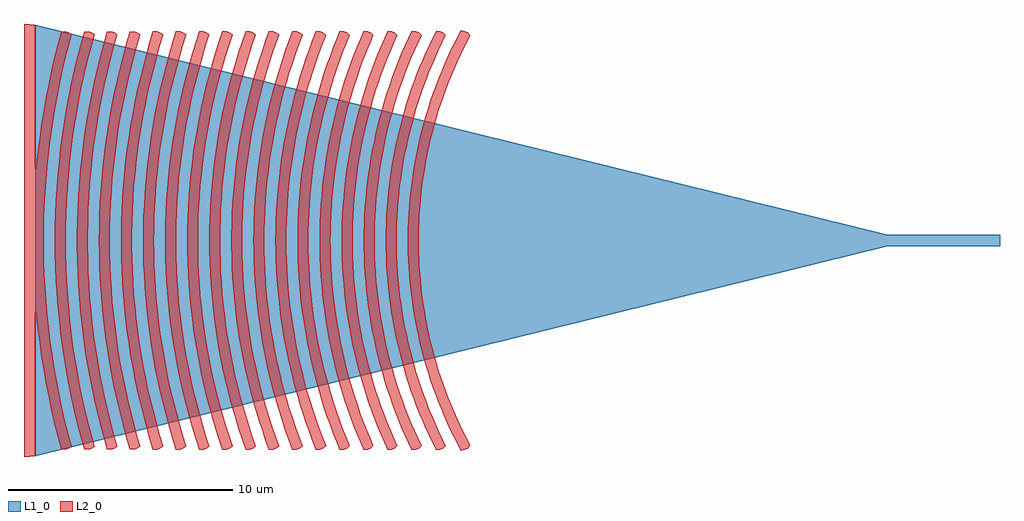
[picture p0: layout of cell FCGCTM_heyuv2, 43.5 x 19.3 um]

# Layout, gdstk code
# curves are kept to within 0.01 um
import gdstk
lib = gdstk.Library(unit=1e-6, precision=1e-09)
def R(c, l, rs):  # rectangles x0, y0, x1, y1
    for r in rs: c.add(gdstk.rectangle(r[:2], r[2:], *l))
def P(c, l, *ps):  # polygons
    for p in ps: c.add(gdstk.Polygon(p, *l))
L1_0 = (1, 0)
L2_0 = (2, 0)

fcgctm_heyuv2 = lib.new_cell('FCGCTM_heyuv2')
R(fcgctm_heyuv2, L1_0, [(-5,-0.25,0,0.25)])
P(fcgctm_heyuv2, L1_0, [(-43,-9.625),(-43,9.625),(-5,0.25),(-5,-0.25)])
P(fcgctm_heyuv2, L2_0, [(-43.5,-9.65),(-43.5,9.65),(-43,9.625),(-43,-9.625)],
  [(-24.032,-9.361),(-24.344,-8.756),(-24.637,-8.137),(-25.036,-7.191),(-25.274,-6.548),(-25.49,-5.899),(-25.771,-4.911),(-26.001,-3.91),(-26.125,-3.236),(-26.226,-2.56),(-26.303,-1.88),(-26.356,-1.197),(-26.392,-0.171),(-26.374,0.855),(-26.332,1.539),(-26.267,2.219),(-26.178,2.898),(-26.066,3.574),(-25.854,4.578),(-25.59,5.571),(-25.385,6.224),(-25.158,6.871),(-24.908,7.508),(-24.637,8.137),(-24.344,8.756),(-24.032,9.361),(-23.845,9.334),(-23.732,9.274),(-23.604,9.134),(-24.056,8.241),(-24.331,7.632),(-24.584,7.016),(-24.817,6.389),(-25.029,5.753),(-25.303,4.79),(-25.527,3.814),(-25.649,3.153),(-25.746,2.497),(-25.85,1.5),(-25.89,0.834),(-25.908,0.167),(-25.902,-0.501),(-25.873,-1.168),(-25.821,-1.834),(-25.746,-2.497),(-25.649,-3.153),(-25.527,-3.814),(-25.303,-4.79),(-25.029,-5.753),(-24.817,-6.389),(-24.584,-7.016),(-24.331,-7.632),(-24.056,-8.241),(-23.604,-9.134),(-23.732,-9.274),(-23.845,-9.334)],
  [(-25.132,-9.356),(-25.594,-8.385),(-25.875,-7.723),(-26.133,-7.05),(-26.475,-6.027),(-26.673,-5.335),(-26.848,-4.636),(-27.063,-3.579),(-27.175,-2.869),(-27.263,-2.155),(-27.348,-1.079),(-27.376,0),(-27.348,1.079),(-27.263,2.154),(-27.175,2.868),(-27.063,3.579),(-26.848,4.636),(-26.673,5.335),(-26.475,6.027),(-26.133,7.05),(-25.875,7.722),(-25.594,8.385),(-25.132,9.356),(-24.944,9.333),(-24.829,9.276),(-24.699,9.139),(-25.153,8.186),(-25.554,7.216),(-25.796,6.553),(-26.012,5.886),(-26.294,4.87),(-26.522,3.842),(-26.645,3.144),(-26.742,2.452),(-26.843,1.405),(-26.879,0.702),(-26.892,0),(-26.879,-0.702),(-26.843,-1.405),(-26.742,-2.453),(-26.645,-3.144),(-26.522,-3.842),(-26.294,-4.87),(-26.012,-5.887),(-25.796,-6.553),(-25.554,-7.216),(-25.153,-8.186),(-24.699,-9.139),(-24.829,-9.276),(-24.944,-9.333)],
  [(-26.221,-9.351),(-26.53,-8.679),(-26.819,-7.993),(-27.207,-6.945),(-27.54,-5.879),(-27.817,-4.797),(-28.038,-3.703),(-28.153,-2.968),(-28.243,-2.229),(-28.33,-1.116),(-28.359,0),(-28.33,1.116),(-28.243,2.228),(-28.153,2.967),(-28.038,3.703),(-27.817,4.797),(-27.54,5.879),(-27.207,6.945),(-26.819,7.992),(-26.53,8.679),(-26.221,9.351),(-26.032,9.333),(-25.916,9.278),(-25.783,9.144),(-26.09,8.479),(-26.37,7.812),(-26.749,6.788),(-27.074,5.747),(-27.345,4.69),(-27.495,3.979),(-27.622,3.256),(-27.762,2.179),(-27.847,1.091),(-27.875,0),(-27.847,-1.091),(-27.762,-2.179),(-27.622,-3.256),(-27.495,-3.979),(-27.345,-4.69),(-27.074,-5.747),(-26.749,-6.788),(-26.37,-7.813),(-26.09,-8.479),(-25.783,-9.144),(-25.916,-9.278),(-26.032,-9.333)],
  [(-27.298,-9.347),(-27.752,-8.287),(-28.153,-7.201),(-28.497,-6.095),(-28.783,-4.973),(-29.011,-3.838),(-29.18,-2.694),(-29.289,-1.542),(-29.329,-0.771),(-29.342,0),(-29.312,1.157),(-29.223,2.311),(-29.074,3.458),(-28.941,4.218),(-28.783,4.973),(-28.497,6.095),(-28.153,7.201),(-27.752,8.286),(-27.298,9.347),(-27.11,9.332),(-26.993,9.28),(-26.857,9.148),(-27.303,8.107),(-27.695,7.044),(-27.924,6.327),(-28.131,5.6),(-28.392,4.498),(-28.595,3.384),(-28.741,2.26),(-28.829,1.132),(-28.858,0),(-28.829,-1.132),(-28.741,-2.26),(-28.595,-3.384),(-28.392,-4.498),(-28.131,-5.6),(-27.924,-6.327),(-27.695,-7.044),(-27.303,-8.108),(-26.857,-9.148),(-26.993,-9.28),(-27.11,-9.332)],
  [(-28.368,-9.343),(-28.821,-8.234),(-29.217,-7.098),(-29.554,-5.944),(-29.831,-4.774),(-30.047,-3.591),(-30.202,-2.4),(-30.295,-1.202),(-30.326,0),(-30.295,1.202),(-30.202,2.4),(-30.047,3.591),(-29.831,4.774),(-29.554,5.944),(-29.217,7.098),(-28.821,8.234),(-28.368,9.343),(-28.18,9.331),(-28.062,9.28),(-27.924,9.152),(-28.37,8.057),(-28.755,6.952),(-29.086,5.821),(-29.357,4.676),(-29.57,3.512),(-29.72,2.349),(-29.811,1.176),(-29.842,0),(-29.811,-1.176),(-29.72,-2.349),(-29.57,-3.512),(-29.357,-4.676),(-29.086,-5.821),(-28.755,-6.952),(-28.37,-8.057),(-27.924,-9.152),(-28.062,-9.281),(-28.18,-9.331)],
  [(-29.431,-9.339),(-29.883,-8.177),(-30.276,-6.989),(-30.607,-5.782),(-30.875,-4.56),(-31.079,-3.326),(-31.219,-2.083),(-31.276,-1.251),(-31.309,0),(-31.276,1.251),(-31.219,2.083),(-31.079,3.325),(-30.875,4.56),(-30.607,5.782),(-30.276,6.989),(-29.883,8.177),(-29.431,9.339),(-29.243,9.331),(-29.123,9.283),(-28.984,9.156),(-29.427,8.015),(-29.812,6.851),(-30.036,6.063),(-30.319,4.87),(-30.541,3.659),(-30.698,2.448),(-30.793,1.225),(-30.825,0),(-30.793,-1.225),(-30.698,-2.448),(-30.541,-3.659),(-30.319,-4.87),(-30.036,-6.063),(-29.812,-6.851),(-29.427,-8.015),(-28.984,-9.156),(-29.123,-9.283),(-29.243,-9.331)],
  [(-30.487,-9.336),(-30.796,-8.527),(-31.208,-7.289),(-31.555,-6.03),(-31.836,-4.756),(-32.051,-3.469),(-32.198,-2.172),(-32.277,-0.87),(-32.292,0),(-32.277,0.87),(-32.198,2.172),(-32.051,3.468),(-31.836,4.756),(-31.555,6.03),(-31.208,7.289),(-30.796,8.527),(-30.487,9.336),(-30.299,9.33),(-30.179,9.284),(-30.037,9.159),(-30.483,7.959),(-30.866,6.738),(-31.086,5.915),(-31.361,4.665),(-31.571,3.402),(-31.716,2.131),(-31.775,1.279),(-31.808,0),(-31.775,-1.279),(-31.716,-2.131),(-31.571,-3.403),(-31.361,-4.665),(-31.086,-5.915),(-30.866,-6.738),(-30.483,-7.959),(-30.037,-9.159),(-30.179,-9.284),(-30.299,-9.33)],
  [(-31.538,-9.333),(-31.994,-8.052),(-32.261,-7.182),(-32.604,-5.861),(-32.878,-4.524),(-33.021,-3.627),(-33.176,-2.271),(-33.24,-1.364),(-33.275,0),(-33.24,1.364),(-33.176,2.271),(-33.021,3.626),(-32.878,4.524),(-32.604,5.861),(-32.261,7.182),(-31.994,8.052),(-31.538,9.333),(-31.35,9.33),(-31.229,9.285),(-31.085,9.162),(-31.533,7.903),(-31.916,6.619),(-32.23,5.317),(-32.401,4.44),(-32.6,3.115),(-32.694,2.229),(-32.776,0.892),(-32.791,0),(-32.776,-0.892),(-32.694,-2.229),(-32.6,-3.116),(-32.401,-4.44),(-32.23,-5.317),(-31.916,-6.619),(-31.533,-7.903),(-31.085,-9.162),(-31.229,-9.285),(-31.35,-9.33)],
  [(-32.584,-9.33),(-33.033,-8.014),(-33.296,-7.121),(-33.631,-5.767),(-33.815,-4.855),(-33.968,-3.938),(-34.137,-2.554),(-34.234,-1.162),(-34.258,-0.233),(-34.234,1.162),(-34.177,2.091),(-34.089,3.015),(-33.896,4.397),(-33.631,5.767),(-33.296,7.121),(-33.033,8.014),(-32.584,9.33),(-32.395,9.329),(-32.274,9.285),(-32.129,9.165),(-32.572,7.869),(-32.83,6.989),(-33.057,6.109),(-33.34,4.769),(-33.552,3.415),(-33.655,2.507),(-33.75,1.141),(-33.774,0.228),(-33.766,-0.685),(-33.695,-2.053),(-33.552,-3.415),(-33.34,-4.769),(-33.057,-6.109),(-32.83,-6.989),(-32.572,-7.869),(-32.129,-9.165),(-32.274,-9.285),(-32.395,-9.329)],
  [(-33.436,-9.329),(-33.625,-9.327),(-33.928,-8.43),(-34.202,-7.518),(-34.445,-6.598),(-34.749,-5.203),(-34.981,-3.795),(-35.14,-2.376),(-35.226,-0.952),(-35.242,0),(-35.226,0.952),(-35.14,2.376),(-34.981,3.794),(-34.749,5.203),(-34.445,6.598),(-34.202,7.518),(-33.928,8.43),(-33.625,9.327),(-33.436,9.329),(-33.315,9.286),(-33.168,9.168),(-33.468,8.282),(-33.86,6.937),(-34.182,5.572),(-34.358,4.652),(-34.562,3.265),(-34.658,2.335),(-34.722,1.402),(-34.758,0),(-34.742,-0.935),(-34.658,-2.335),(-34.562,-3.265),(-34.358,-4.653),(-34.182,-5.572),(-33.86,-6.937),(-33.468,-8.282),(-33.168,-9.168),(-33.315,-9.286)],
  [(-34.474,-9.328),(-34.662,-9.324),(-34.819,-8.855),(-35.247,-7.416),(-35.489,-6.445),(-35.698,-5.467),(-35.946,-3.988),(-36.116,-2.498),(-36.208,-1),(-36.225,0),(-36.208,1),(-36.116,2.498),(-35.946,3.987),(-35.698,5.467),(-35.489,6.445),(-35.247,7.416),(-34.819,8.855),(-34.662,9.324),(-34.474,9.328),(-34.352,9.287),(-34.204,9.171),(-34.648,7.764),(-34.903,6.816),(-35.223,5.376),(-35.395,4.402),(-35.587,2.945),(-35.673,1.966),(-35.724,0.983),(-35.741,0),(-35.724,-0.983),(-35.673,-1.966),(-35.587,-2.945),(-35.395,-4.402),(-35.223,-5.376),(-34.903,-6.816),(-34.648,-7.764),(-34.204,-9.171),(-34.352,-9.287)],
  [(-35.507,-9.328),(-35.696,-9.322),(-36.002,-8.348),(-36.399,-6.861),(-36.718,-5.355),(-36.887,-4.343),(-37.074,-2.817),(-37.181,-1.282),(-37.207,-0.256),(-37.181,1.282),(-37.074,2.817),(-36.887,4.343),(-36.718,5.355),(-36.399,6.861),(-36.002,8.348),(-35.696,9.322),(-35.507,9.328),(-35.385,9.288),(-35.236,9.172),(-35.537,8.212),(-35.807,7.238),(-36.146,5.763),(-36.33,4.766),(-36.478,3.773),(-36.636,2.267),(-36.697,1.261),(-36.723,0.252),(-36.715,-0.756),(-36.671,-1.765),(-36.592,-2.771),(-36.408,-4.273),(-36.242,-5.269),(-35.928,-6.749),(-35.537,-8.212),(-35.236,-9.173),(-35.385,-9.289)],
  [(-36.537,-9.327),(-36.726,-9.319),(-37.031,-8.317),(-37.424,-6.786),(-37.736,-5.238),(-37.9,-4.199),(-38.078,-2.629),(-38.174,-1.053),(-38.192,0),(-38.174,1.053),(-38.078,2.629),(-37.9,4.198),(-37.736,5.238),(-37.424,6.786),(-37.031,8.317),(-36.726,9.319),(-36.537,9.327),(-36.415,9.289),(-36.265,9.175),(-36.565,8.184),(-36.832,7.183),(-37.166,5.666),(-37.346,4.639),(-37.488,3.618),(-37.596,2.588),(-37.69,1.036),(-37.708,0),(-37.69,-1.036),(-37.596,-2.588),(-37.488,-3.618),(-37.346,-4.639),(-37.166,-5.666),(-36.832,-7.183),(-36.565,-8.184),(-36.265,-9.176),(-36.415,-9.289)],
  [(-37.565,-9.327),(-37.754,-9.317),(-37.909,-8.804),(-38.326,-7.236),(-38.66,-5.648),(-38.754,-5.115),(-38.912,-4.046),(-39.034,-2.971),(-39.146,-1.352),(-39.174,-0.27),(-39.165,0.811),(-39.08,2.432),(-38.978,3.508),(-38.754,5.115),(-38.446,6.708),(-38.326,7.236),(-38.057,8.284),(-37.754,9.317),(-37.565,9.327),(-37.442,9.289),(-37.291,9.177),(-37.592,8.153),(-37.974,6.606),(-38.184,5.562),(-38.359,4.51),(-38.497,3.454),(-38.598,2.393),(-38.662,1.331),(-38.69,0.266),(-38.681,-0.799),(-38.635,-1.863),(-38.497,-3.454),(-38.359,-4.51),(-38.184,-5.562),(-37.974,-6.606),(-37.592,-8.153),(-37.291,-9.178),(-37.442,-9.289)],
  [(-38.59,-9.327),(-38.779,-9.315),(-38.934,-8.786),(-39.348,-7.17),(-39.578,-6.081),(-39.678,-5.534),(-39.851,-4.436),(-40.038,-2.778),(-40.115,-1.668),(-40.154,-0.556),(-40.158,0),(-40.154,0.556),(-40.115,1.668),(-40.038,2.778),(-39.851,4.435),(-39.678,5.534),(-39.578,6.081),(-39.348,7.17),(-38.934,8.786),(-38.779,9.315),(-38.59,9.327),(-38.467,9.29),(-38.314,9.179),(-38.614,8.127),(-38.877,7.062),(-39.102,5.991),(-39.292,4.906),(-39.504,3.281),(-39.599,2.19),(-39.655,1.095),(-39.674,0),(-39.655,-1.095),(-39.599,-2.19),(-39.504,-3.281),(-39.292,-4.906),(-39.102,-5.991),(-38.877,-7.062),(-38.614,-8.127),(-38.314,-9.18),(-38.467,-9.29)],
  [(-39.613,-9.326),(-39.801,-9.313),(-39.956,-8.768),(-40.104,-8.214),(-40.369,-7.1),(-40.695,-5.414),(-40.863,-4.282),(-40.992,-3.144),(-41.111,-1.431),(-41.14,-0.286),(-41.131,0.859),(-41.081,2.003),(-41.041,2.574),(-40.992,3.144),(-40.863,4.281),(-40.695,5.414),(-40.369,7.1),(-40.104,8.214),(-39.956,8.768),(-39.801,9.313),(-39.613,9.326),(-39.488,9.291),(-39.336,9.181),(-39.635,8.094),(-39.897,6.997),(-40.12,5.892),(-40.305,4.778),(-40.451,3.659),(-40.559,2.535),(-40.627,1.41),(-40.656,0.282),(-40.647,-0.846),(-40.598,-1.974),(-40.51,-3.098),(-40.383,-4.219),(-40.12,-5.892),(-39.897,-6.997),(-39.635,-8.094),(-39.336,-9.181),(-39.488,-9.291)],
  [(-40.634,-9.326),(-40.821,-9.312),(-40.977,-8.748),(-41.389,-7.027),(-41.613,-5.868),(-41.71,-5.286),(-41.874,-4.119),(-41.997,-2.946),(-42.079,-1.769),(-42.12,-0.59),(-42.125,0),(-42.12,0.59),(-42.079,1.769),(-41.997,2.946),(-41.874,4.118),(-41.71,5.286),(-41.613,5.868),(-41.389,7.027),(-40.977,8.748),(-40.821,9.312),(-40.634,9.326),(-40.509,9.291),(-40.355,9.182),(-40.655,8.061),(-40.915,6.928),(-41.137,5.785),(-41.318,4.637),(-41.459,3.483),(-41.56,2.324),(-41.621,1.162),(-41.641,0),(-41.621,-1.162),(-41.56,-2.324),(-41.459,-3.483),(-41.318,-4.637),(-41.137,-5.785),(-40.915,-6.928),(-40.655,-8.061),(-40.355,-9.182),(-40.509,-9.291)],
  [(-41.651,-9.326),(-41.84,-9.31),(-42.143,-8.137),(-42.28,-7.544),(-42.407,-6.949),(-42.629,-5.752),(-42.725,-5.151),(-42.884,-3.946),(-43.001,-2.735),(-43.075,-1.52),(-43.107,-0.304),(-43.107,0.304),(-43.075,1.52),(-43.001,2.735),(-42.884,3.945),(-42.725,5.151),(-42.629,5.752),(-42.407,6.949),(-42.143,8.137),(-41.996,8.727),(-41.84,9.31),(-41.651,9.326),(-41.527,9.292),(-41.372,9.184),(-41.673,8.025),(-41.933,6.852),(-42.153,5.668),(-42.33,4.487),(-42.466,3.295),(-42.56,2.099),(-42.612,0.9),(-42.623,0.3),(-42.612,-0.9),(-42.56,-2.099),(-42.466,-3.295),(-42.33,-4.487),(-42.153,-5.668),(-41.933,-6.852),(-41.673,-8.025),(-41.372,-9.184),(-41.527,-9.292)])

lib.write_gds('FCGCTM_heyuv2.gds')
